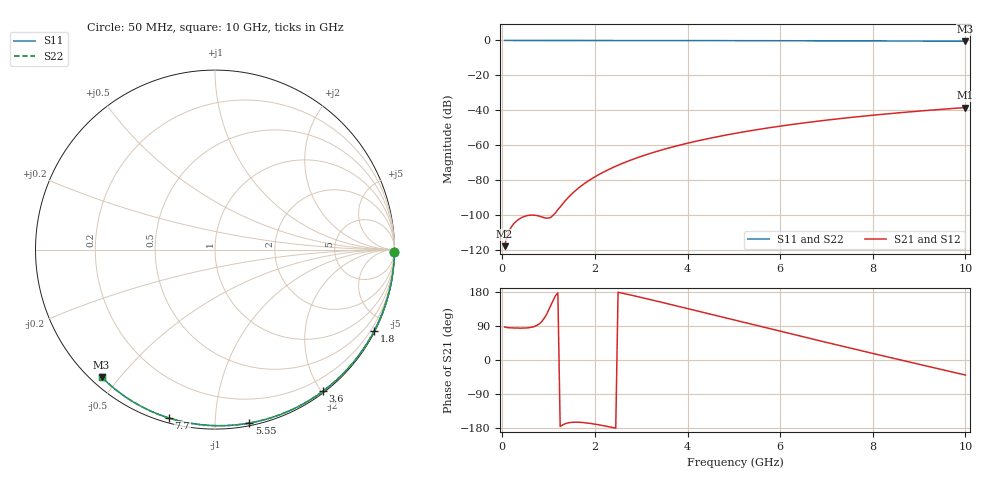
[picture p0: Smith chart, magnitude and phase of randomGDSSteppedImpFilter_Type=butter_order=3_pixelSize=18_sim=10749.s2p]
! freq	dB(S11)	phase(S11)	dB(S12)	phase(S12)
!  dB(S21)	phase(S21)	dB(S22)	phase(S22)
!S-par simulation data
#  GHz  S  DB  R 50
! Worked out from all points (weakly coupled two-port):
!   200 points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, 50 MHz to 10 GHz, reference 50 ohm
!   highest |S21| = -38.40 dB at 10 GHz (marker M1); lowest = -117.7 dB at 50 MHz (marker M2)
!   lowest |S11| = -0.4 dB at 10 GHz (marker M3), VSWR 39.04, Z = 1.54 - j22.4 ohm
!   |S11| at or under -10 dB: nowhere
!   |S22| runs from -0.4 to 0.0 dB; largest |S21 - S12| = 0
!   S11 on the Smith chart (normalised r, x): 50 MHz: open; 1.8 GHz: 0.04, -4.17; 3.6 GHz: 0.02, -2.02; 5.55 GHz: 0.02, -1.22; 7.7 GHz: 0.02, -0.76; 10 GHz: 0.03, -0.45
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0.05  -0.00 -0.8  -117.69 87.0  -117.69 87.0  -0.00 -0.8
0.9  -0.02 -13.6  -101.37 109.4  -101.37 109.4  -0.02 -13.6
1.75  -0.03 -26.3  -82.32 -165.1  -82.32 -165.1  -0.03 -26.3
1.8  -0.03 -27.0  -81.38 -165.8  -81.38 -165.8  -0.03 -27.0
1.85  -0.04 -27.7  -80.49 -166.5  -80.49 -166.5  -0.04 -27.7
1.9  -0.04 -28.5  -79.63 -167.4  -79.63 -167.4  -0.04 -28.5
2.05  -0.04 -30.7  -77.24 -170.3  -77.24 -170.3  -0.04 -30.7
2.25  -0.04 -33.6  -74.43 -174.8  -74.43 -174.8  -0.04 -33.6
2.45  -0.05 -36.5  -71.95 -179.9  -71.95 -179.9  -0.05 -36.5
2.65  -0.05 -39.4  -69.72 174.8  -69.72 174.8  -0.05 -39.4
3  -0.06 -44.4  -66.31 165.0  -66.31 165.0  -0.06 -44.4
3.4  -0.07 -50.0  -62.97 153.5  -62.97 153.5  -0.07 -50.0
3.6  -0.07 -52.8  -61.48 147.6  -61.48 147.6  -0.07 -52.8
4.3  -0.09 -62.4  -56.97 126.8  -56.97 126.8  -0.09 -62.4
5.05  -0.11 -72.3  -53.04 104.3  -53.04 104.3  -0.11 -72.3
5.55  -0.13 -78.8  -50.81 89.4  -50.81 89.4  -0.13 -78.8
6.1  -0.15 -85.8  -48.64 73.0  -48.64 73.0  -0.15 -85.8
6.7  -0.18 -93.2  -46.54 55.3  -46.54 55.3  -0.18 -93.2
7.7  -0.24 -105.3  -43.56 26.0  -43.56 26.0  -0.24 -105.3
8.35  -0.29 -112.9  -41.89 7.3  -41.89 7.3  -0.29 -112.9
9.15  -0.36 -122.1  -40.08 -15.6  -40.08 -15.6  -0.36 -122.1
10  -0.45 -131.7  -38.40 -39.7  -38.40 -39.7  -0.45 -131.7
